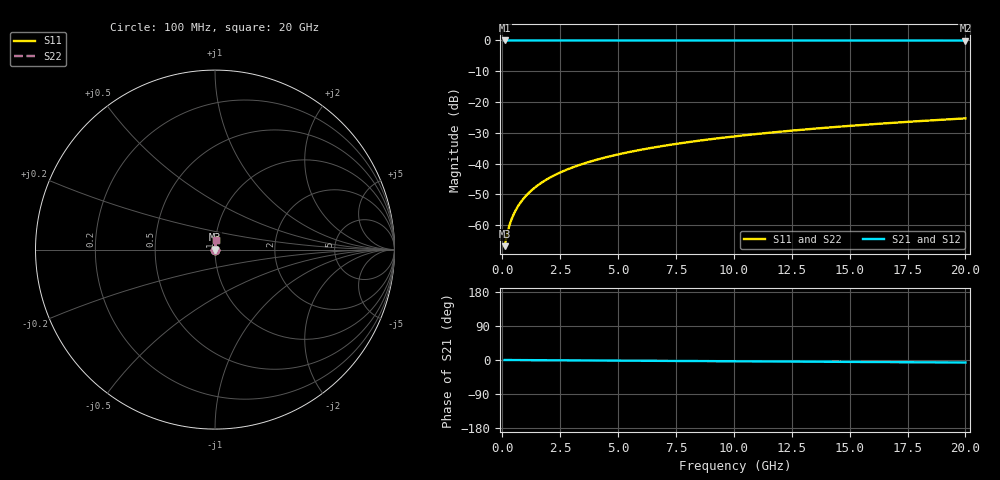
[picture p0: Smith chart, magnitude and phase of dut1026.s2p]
! Touchstone file exported from HFSS 2026.1.0
!  File:  C:/ffzhzh/LocalFiles/Ansys_Project_Files/temp_train_TSV_1026_1783188949_22436.aedt
!  Generated:  02:17:42 AM Jul  5, 2026
!  Design:  TSV
!  Project:  temp_train_TSV_1026_1783188949_22436
! Variables:
!  h_bsmrdl = 2um
!  h_ox = 20um
!  h_rdl = 5um
!  h_sub = 55.1um
!  h_tmrdl = 5um
!  h_tsv = 55.1um
!  h_via = 3um
!  l_bsmrdl = 300um
!  l_sub = 409.12um
!  l_tmrdl = 200um
!  m_sub = 200um
!  pitch = 37.72um
!  r_tsv = 4.56um
!  s_tmrdl = 10um
!  w_bsmrdl = 18um
!  w_sub = 500um
!  w_tmrdl = 12um
!  x_tsv_center1 = 206um
!  x_tsv_center2 = 524um
!  x_tsv_center3 = 736um
!  x_tsv_center4 = 1054um
!  x_tsv_center5 = 1266um
!  x_tsv_center6 = 1584um
# GHz S MA R 50.000000
! Terminal data exported
! Port[1] = TSV1_1_T1
! Port[2] = TSV1_1_T2
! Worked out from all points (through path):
!   200 points, 100 MHz to 20 GHz, reference 50 ohm
!   highest |S21| = 0.00 dB at 100 MHz (marker M1); lowest = 0.0 dB at 20 GHz (marker M2)
!   lowest |S11| = -66.8 dB at 100 MHz (marker M3), VSWR 1.00, Z = 50 + j0.0304 ohm
!   |S11| at or under -10 dB: start of sweep to end of sweep
!   |S22| runs from -66.8 to -25.3 dB; largest |S21 - S12| = 4.1e-15
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0.1  0.000455 41.9  0.9997 -0.0  0.9997 -0.0  0.000455 41.9
! Gamma 0 0 0 0
! Port Impedance 50 0 50 0
0.2  0.0006976 60.0  0.9997 -0.1  0.9997 -0.1  0.0006976 60.0
0.3  0.0009686 68.0  0.9996 -0.1  0.9996 -0.1  0.0009686 68.0
0.4  0.001246 72.4  0.9996 -0.1  0.9996 -0.1  0.001246 72.4
0.5  0.001525 75.2  0.9996 -0.2  0.9996 -0.2  0.001525 75.2
0.6  0.001805 77.2  0.9996 -0.2  0.9996 -0.2  0.001805 77.2
0.8  0.002366 79.7  0.9996 -0.3  0.9996 -0.3  0.002366 79.7
1.1  0.003212 81.9  0.9996 -0.4  0.9996 -0.4  0.003212 81.9
1.5  0.004343 83.4  0.9995 -0.5  0.9995 -0.5  0.004343 83.4
1.8  0.005191 84.0  0.9995 -0.6  0.9995 -0.6  0.005191 84.0
2.1  0.006037 84.4  0.9995 -0.7  0.9995 -0.7  0.006037 84.4
2.7  0.007722 84.8  0.9994 -0.9  0.9994 -0.9  0.007722 84.8
3.5  0.00995 85.0  0.9993 -1.2  0.9993 -1.2  0.00995 85.0
4.2  0.01188 85.0  0.9992 -1.4  0.9992 -1.4  0.01188 85.0
5  0.01408 85.0  0.9991 -1.7  0.9991 -1.7  0.01408 85.0
5.9  0.01653 84.9  0.999 -2.0  0.999 -2.0  0.01653 84.9
6.8  0.01896 84.8  0.9988 -2.3  0.9988 -2.3  0.01896 84.8
8.3  0.02301 84.5  0.9986 -2.8  0.9986 -2.8  0.02301 84.5
10.1  0.02785 84.1  0.9984 -3.4  0.9984 -3.4  0.02785 84.1
13.4  0.03668 83.4  0.998 -4.5  0.998 -4.5  0.03668 83.4
16.7  0.04548 82.5  0.9974 -5.6  0.9974 -5.6  0.04548 82.5
20  0.05422 81.6  0.9968 -6.7  0.9968 -6.7  0.05422 81.6
